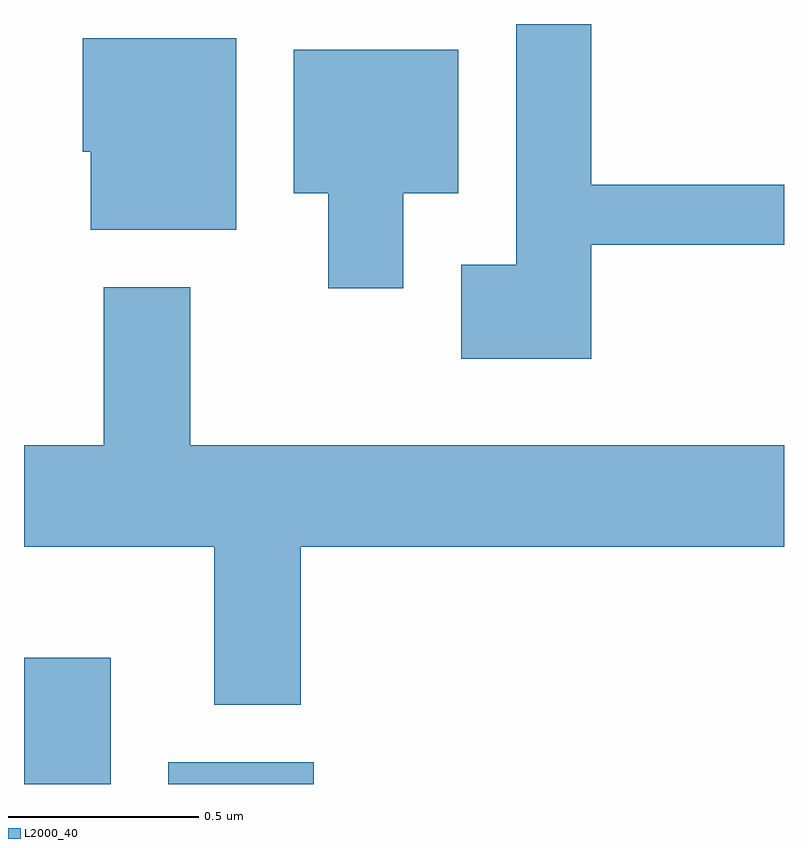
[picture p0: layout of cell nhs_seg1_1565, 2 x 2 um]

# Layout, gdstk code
import gdstk
lib = gdstk.Library(unit=1e-6, precision=1e-09)
def R(c, l, rs):  # rectangles x0, y0, x1, y1
    for r in rs: c.add(gdstk.rectangle(r[:2], r[2:], *l))
def P(c, l, *ps):  # polygons
    for p in ps: c.add(gdstk.Polygon(p, *l))
L2000_40 = (2000, 40)

nhs_seg1_1565 = lib.new_cell('nhs_seg1_1565')
R(nhs_seg1_1565, L2000_40, [(196.611,916.712,196.839,917.044), (196.991,916.712,197.374,916.769)])
P(nhs_seg1_1565, L2000_40, [(198.104,918.131),(198.611,918.131),(198.611,918.289),(198.104,918.289),(198.104,918.712),(197.906,918.712),(197.906,918.079),(197.761,918.079),(197.761,917.831),(198.104,917.831)],
  [(197.169,918.674),(196.766,918.674),(196.766,918.376),(196.786,918.376),(196.786,918.171),(197.169,918.171)],
  [(197.609,918.266),(197.754,918.266),(197.754,918.644),(197.321,918.644),(197.321,918.266),(197.411,918.266),(197.411,918.016),(197.609,918.016)],
  [(197.339,917.336),(198.611,917.336),(198.611,917.604),(197.049,917.604),(197.049,918.019),(196.821,918.019),(196.821,917.604),(196.611,917.604),(196.611,917.336),(197.111,917.336),(197.111,916.921),(197.339,916.921)])

lib.write_gds('nhs_seg1_1565.gds')
